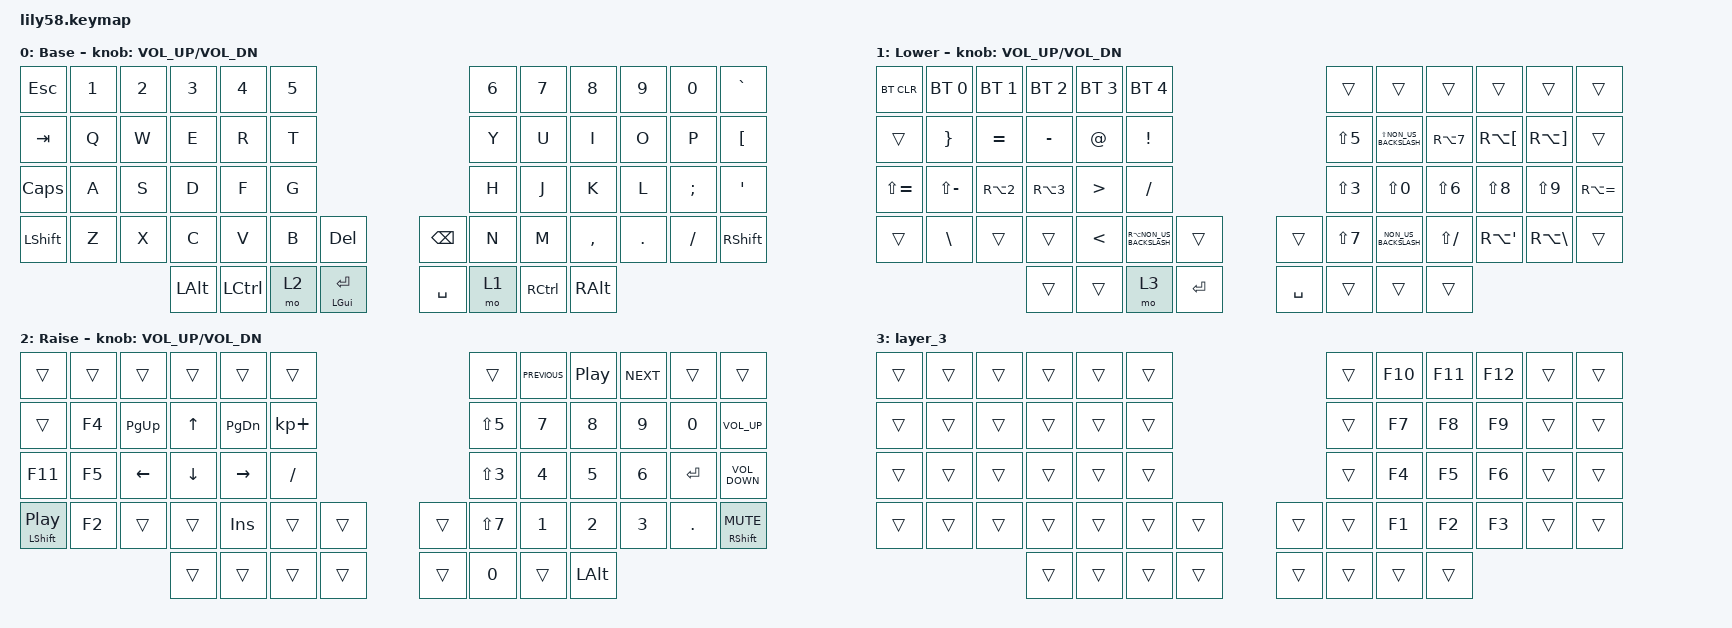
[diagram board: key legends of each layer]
/*
 * Copyright (c) 2020 The ZMK Contributors
 *
 * SPDX-License-Identifier: MIT
 */

#include <behaviors.dtsi>
#include <dt-bindings/zmk/bt.h>
#include <dt-bindings/zmk/keys.h>

/ {
    keymap {
        compatible = "zmk,keymap";

        default_layer {
            // ------------------------------------------------------------------------------------------------------------
            // |  ESC  |  1  |  2  |  3   |  4   |  5   |                   |  6   |  7    |  8    |  9   |   0   |   `   |
            // |  TAB  |  Q  |  W  |  E   |  R   |  T   |                   |  Y   |  U    |  I    |  O   |   P   |   -   |
            // |  CTRL |  A  |  S  |  D   |  F   |  G   |                   |  H   |  J    |  K    |  L   |   ;   |   '   |
            // | SHIFT |  Z  |  X  |  C   |  V   |  B   |   "["  |  |  "]"  |  N   |  M    |  ,    |  .   |   /   | SHIFT |
            //                     | ALT  | GUI  | LOWER|  SPACE |  | ENTER | RAISE| BSPC  | GUI   |

            display-name = "Base";
            bindings = <
&kp ESC    &kp N1  &kp N2  &kp N3        &kp N4     &kp N5                                       &kp N6  &kp N7     &kp N8         &kp N9   &kp N0    &kp GRAVE
&kp TAB    &kp Q   &kp W   &kp E         &kp R      &kp T                                        &kp Y   &kp U      &kp I          &kp O    &kp P     &kp LEFT_BRACKET
&kp CLCK   &kp A   &kp S   &kp D         &kp F      &kp G                                        &kp H   &kp J      &kp K          &kp L    &kp SEMI  &kp SQT
&kp LSHFT  &kp Z   &kp X   &kp C         &kp V      &kp B   &kp DELETE            &kp BACKSPACE  &kp N   &kp M      &kp COMMA      &kp DOT  &kp FSLH  &kp RSHFT
                           &kp LEFT_ALT  &kp LCTRL  &mo 2   &mt LEFT_GUI ENTER    &kp SPACE      &mo 1   &kp RCTRL  &kp RIGHT_ALT
            >;

            sensor-bindings = <&inc_dec_kp C_VOL_UP C_VOL_DN>;
        };

        lower_layer {
            // ------------------------------------------------------------------------------------------------------------
            // | BTCLR | BT1 | BT2 |  BT3 |  BT4 |  BT5 |                   |      |       |       |      |       |       |
            // |  F1   |  F2 |  F3 |  F4  |  F5  |  F6  |                   |  F7  |  F8   |  F9   |  F10 |  F11  |  F12  |
            // |   `   |  !  |  @  |  #   |  $   |  %   |                   |  ^   |  &    |  *    |  (   |   )   |   ~   |
            // |       |     |     |      |      |      |        |  |       |      |  _    |  +    |  {   |   }   |  "|"  |
            //                     |      |      |      |        |  |       |      |       |       |

            display-name = "Lower";
            bindings = <
&bt BT_CLR     &bt BT_SEL 0     &bt BT_SEL 1      &bt BT_SEL 2      &bt BT_SEL 3      &bt BT_SEL 4                                       &trans            &trans                    &trans            &trans                &trans                 &trans
&trans         &kp RIGHT_BRACE  &kp EQUAL         &kp MINUS         &kp AT_SIGN       &kp EXCLAMATION                                    &kp LS(N5)        &kp LS(NON_US_BACKSLASH)  &kp RA(N7)        &kp RA(LEFT_BRACKET)  &kp RA(RIGHT_BRACKET)  &trans
&kp LS(EQUAL)  &kp LS(MINUS)    &kp RA(NUMBER_2)  &kp RA(NUMBER_3)  &kp GREATER_THAN  &kp SLASH                                          &kp LS(NUMBER_3)  &kp LS(N0)                &kp LS(NUMBER_6)  &kp LS(N8)            &kp LS(N9)             &kp RA(EQUAL)
&trans         &kp BACKSLASH    &trans            &trans            &kp LESS_THAN     &kp RA(NON_US_BACKSLASH)  &trans        &trans     &kp LS(N7)        &kp NON_US_BACKSLASH      &kp LS(SLASH)     &kp RA(SQT)           &kp RA(BACKSLASH)      &trans
                                                  &trans            &trans            &mo 3                     &kp RETURN    &kp SPACE  &trans            &trans                    &trans
            >;

            sensor-bindings = <&inc_dec_kp C_VOL_UP C_VOL_DN>;
        };

        raise_layer {
            // ------------------------------------------------------------------------------------------------------------
            // |       |     |     |      |      |      |                   |      |       |       |      |       |       |
            // |   `   |  1  |  2  |  3   |  4   |  5   |                   |  6   |   7   |   8   |  9   |   0   |       |
            // |   F1  |  F2 |  F3 |  F4  |  F5  |  F6  |                   |      |   <-  |   v   |  ^   |  ->   |       |
            // |   F7  |  F8 |  F9 |  F10 |  F11 |  F12 |        |  |       |  +   |   -   |   =   |  [   |   ]   |   \   |
            //                     |      |      |      |        |  |       |      |       |       |

            display-name = "Raise";
            bindings = <
&trans               &trans  &trans     &trans        &trans           &trans                         &trans            &kp C_PREVIOUS  &kp C_PLAY_PAUSE  &kp C_NEXT    &trans      &trans
&trans               &kp F4  &kp PG_UP  &kp UP_ARROW  &kp PAGE_DOWN    &kp KP_PLUS                    &kp LS(N5)        &kp N7          &kp N8            &kp N9        &kp N0      &kp C_VOLUME_UP
&kp F11              &kp F5  &kp LEFT   &kp DOWN      &kp RIGHT_ARROW  &kp SLASH                      &kp LS(NUMBER_3)  &kp NUMBER_4    &kp NUMBER_5      &kp NUMBER_6  &kp RET     &kp C_VOLUME_DOWN
&mt LEFT_SHIFT C_PP  &kp F2  &trans     &trans        &kp INS          &trans       &trans    &trans  &kp LS(N7)        &kp NUMBER_1    &kp NUMBER_2      &kp NUMBER_3  &kp PERIOD  &mt RIGHT_SHIFT C_MUTE
                                        &trans        &trans           &trans       &trans    &trans  &kp NUMBER_0      &trans          &kp LEFT_ALT
            >;

            sensor-bindings = <&inc_dec_kp C_VOL_UP C_VOL_DN>;
        };

        layer_3 {
            bindings = <
&trans  &trans  &trans  &trans  &trans  &trans                    &trans  &kp F10  &kp F11  &kp F12  &trans  &trans
&trans  &trans  &trans  &trans  &trans  &trans                    &trans  &kp F7   &kp F8   &kp F9   &trans  &trans
&trans  &trans  &trans  &trans  &trans  &trans                    &trans  &kp F4   &kp F5   &kp F6   &trans  &trans
&trans  &trans  &trans  &trans  &trans  &trans  &trans    &trans  &trans  &kp F1   &kp F2   &kp F3   &trans  &trans
                        &trans  &trans  &trans  &trans    &trans  &trans  &trans   &trans
            >;
        };
    };
};
